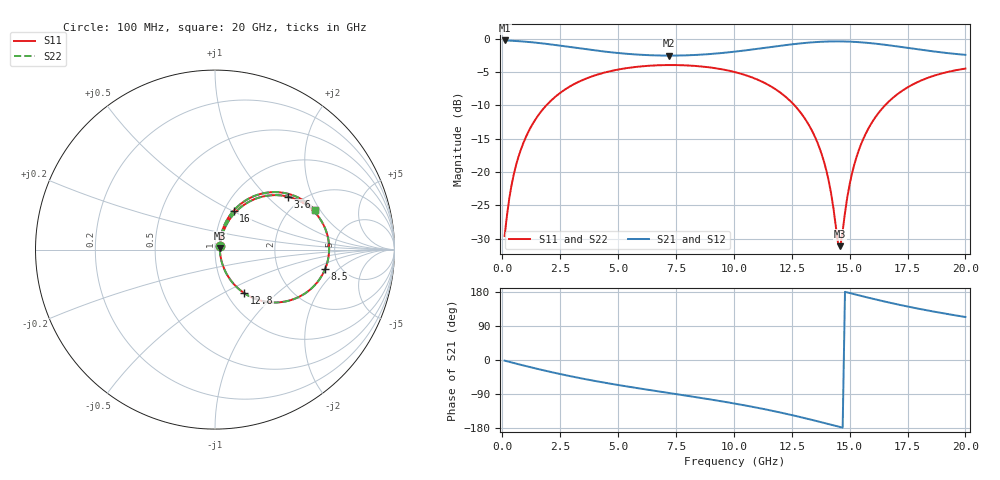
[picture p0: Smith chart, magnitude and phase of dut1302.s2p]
! Touchstone file exported from HFSS 2026.1.0
!  File:  C:/ffzhzh/LocalFiles/Ansys_Project_Files/temp_train_TSV_RDL_1302_1783333819_39728.aedt
!  Generated:  06:41:03 PM Jul  6, 2026
!  Design:  TSV_RDL
!  Project:  temp_train_TSV_RDL_1302_1783333819_39728
! Variables:
!  h_bsmrdl = 4.06um
!  h_ox = 20um
!  h_rdl = 5um
!  h_sub = 56.2um
!  h_tmrdl = 2.18um
!  h_tsv = 56.2um
!  h_via = 3um
!  l_bsmrdl = 439.44um
!  l_sub = 4303.42um
!  l_tmrdl = 616.14um
!  m_sub = 200um
!  pitch = 57.72um
!  r_tsv = 8.38um
!  s_tmrdl = 10um
!  w_bsmrdl = 20.85um
!  w_sub = 500um
!  w_tmrdl = 19.33um
!  x_tsv_center1 = 625.805um
!  x_tsv_center2 = 1086.095um
!  x_tsv_center3 = 1721.565um
!  x_tsv_center4 = 2181.855um
!  x_tsv_center5 = 2817.325um
!  x_tsv_center6 = 3277.615um
# GHz S MA R 50.000000
! Terminal data exported
! Port[1] = TM_RDL1_1_T1
! Port[2] = TM_RDL5_1_T1
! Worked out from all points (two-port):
!   200 points, 100 MHz to 20 GHz, reference 50 ohm
!   highest |S21| = -0.24 dB at 100 MHz (marker M1); lowest = -2.5 dB at 7.2 GHz (marker M2)
!   |S21| within 3 dB of the highest: start of sweep to end of sweep
!   lowest |S11| = -31.1 dB at 14.6 GHz (marker M3), VSWR 1.06, Z = 52.7 + j0.751 ohm
!   |S11| at or under -10 dB: start of sweep to 1.9 GHz; 12.62 GHz to 16.53 GHz (3.904 GHz wide, 26.8 % of centre)
!   |S22| runs from -31.3 to -3.9 dB; largest |S21 - S12| = 1.7e-14
!   S11 on the Smith chart (normalised r, x): 100 MHz: 1.06, +0.04; 3.6 GHz: 1.70, +1.34; 8.5 GHz: 3.78, -1.36; 12.8 GHz: 1.20, -0.64; 16 GHz: 1.11, +0.51; 20 GHz: 2.61, +1.79
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0.1  0.03303 33.7  0.9729 -1.6  0.9729 -1.6  0.03303 33.7
! Gamma 0 0 0 0
! Port Impedance 50 0 50 0
0.5  0.09661 64.2  0.9662 -8.1  0.9662 -8.1  0.09661 64.2
1.1  0.1962 63.7  0.9491 -17.3  0.9491 -17.3  0.1962 63.7
2.1  0.3432 53.2  0.9083 -31.7  0.9083 -31.7  0.3432 53.2
3.5  0.4934 37.2  0.8411 -49.6  0.8411 -49.6  0.4934 37.2
3.6  0.5017 36.1  0.8366 -50.7  0.8366 -50.7  0.5017 36.1
6.8  0.634 5.1  0.7499 -83.4  0.7499 -83.4  0.634 5.1
7.2  0.6359 1.5  0.7486 -87.1  0.7486 -87.1  0.6359 1.5
8.5  0.6226 -10.2  0.7596 -99.3  0.7596 -99.3  0.6226 -10.2
10.1  0.5596 -25.7  0.8037 -115.6  0.8037 -115.6  0.5596 -25.7
11.6  0.4398 -42.0  0.8685 -133.2  0.8685 -133.2  0.4398 -42.1
12.8  0.2914 -56.2  0.9219 -149.5  0.9219 -149.5  0.2913 -56.3
13.4  0.2002 -62.4  0.9423 -158.4  0.9423 -158.4  0.2002 -62.5
14  0.1019 -63.8  0.9547 -167.6  0.9547 -167.6  0.1017 -64.0
14.5  0.02922 -19.3  0.9576 -175.4  0.9576 -175.4  0.02883 -19.6
14.6  0.02772 14.9  0.9573 -177.0  0.9573 -177.0  0.02731 15.1
14.9  0.06456 62.4  0.9547 178.3  0.9547 178.3  0.06441 62.8
15.2  0.1134 68.8  0.9495 173.7  0.9495 173.7  0.1134 69.0
16  0.241 64.4  0.9251 161.6  0.9251 161.6  0.2409 64.5
16.7  0.3392 56.6  0.8948 151.7  0.8948 151.7  0.3392 56.7
18.2  0.4959 39.6  0.8233 132.7  0.8233 132.7  0.4959 39.6
20  0.5977 21.7  0.7587 113.5  0.7587 113.5  0.5978 21.6
